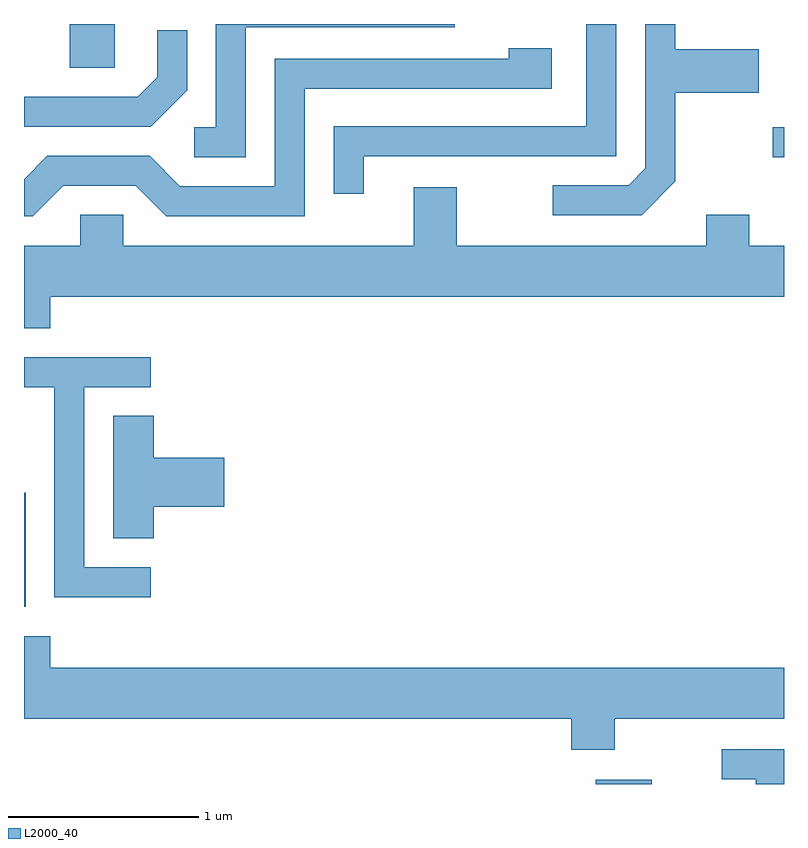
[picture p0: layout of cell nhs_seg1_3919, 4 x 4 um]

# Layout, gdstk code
import gdstk
lib = gdstk.Library(unit=1e-6, precision=1e-09)
def R(c, l, rs):  # rectangles x0, y0, x1, y1
    for r in rs: c.add(gdstk.rectangle(r[:2], r[2:], *l))
def P(c, l, *ps):  # polygons
    for p in ps: c.add(gdstk.Polygon(p, *l))
L2000_40 = (2000, 40)

nhs_seg1_3919 = lib.new_cell('nhs_seg1_3919')
R(nhs_seg1_3919, L2000_40, [(306.621,863.712,306.914,863.734), (303.611,864.646,303.619,865.244), (307.553,867.011,307.611,867.169), (303.851,867.481,304.089,867.712)])
P(nhs_seg1_3919, L2000_40, [(307.039,866.884),(307.039,867.351),(307.479,867.351),(307.479,867.579),(307.039,867.579),(307.039,867.712),(306.881,867.712),(306.881,866.952),(306.794,866.864),(306.393,866.864),(306.393,866.706),(306.862,866.706)],
  [(304.779,867.696),(305.878,867.696),(305.878,867.712),(304.621,867.712),(304.621,867.169),(304.508,867.169),(304.508,867.011),(304.779,867.011)],
  [(305.399,867.016),(306.729,867.016),(306.729,867.712),(306.571,867.712),(306.571,867.174),(305.241,867.174),(305.241,866.818),(305.399,866.818)],
  [(304.469,867.364),(304.469,867.678),(304.311,867.678),(304.311,867.432),(304.209,867.329),(303.611,867.329),(303.611,867.171),(304.277,867.171)],
  [(303.817,866.861),(304.199,866.861),(304.359,866.701),(305.089,866.701),(305.089,867.371),(306.389,867.371),(306.389,867.584),(306.161,867.584),(306.161,867.529),(304.931,867.529),(304.931,866.859),(304.432,866.859),(304.272,867.019),(303.734,867.019),(303.611,866.896),(303.611,866.701),(303.657,866.701)],
  [(303.749,866.276),(307.611,866.276),(307.611,866.544),(307.429,866.544),(307.429,866.709),(307.201,866.709),(307.201,866.544),(305.889,866.544),(305.889,866.854),(305.661,866.854),(305.661,866.544),(304.134,866.544),(304.134,866.709),(303.906,866.709),(303.906,866.544),(303.611,866.544),(303.611,866.111),(303.749,866.111)],
  [(304.278,864.854),(303.929,864.854),(303.929,865.801),(304.278,865.801),(304.278,865.959),(303.611,865.959),(303.611,865.801),(303.771,865.801),(303.771,864.696),(304.278,864.696)],
  [(304.294,865.171),(304.664,865.171),(304.664,865.429),(304.294,865.429),(304.294,865.649),(304.081,865.649),(304.081,865.006),(304.294,865.006)],
  [(306.719,864.056),(307.611,864.056),(307.611,864.324),(303.749,864.324),(303.749,864.489),(303.611,864.489),(303.611,864.056),(306.491,864.056),(306.491,863.891),(306.719,863.891)],
  [(307.611,863.894),(307.283,863.894),(307.283,863.736),(307.461,863.736),(307.461,863.712),(307.611,863.712)])

lib.write_gds('nhs_seg1_3919.gds')
